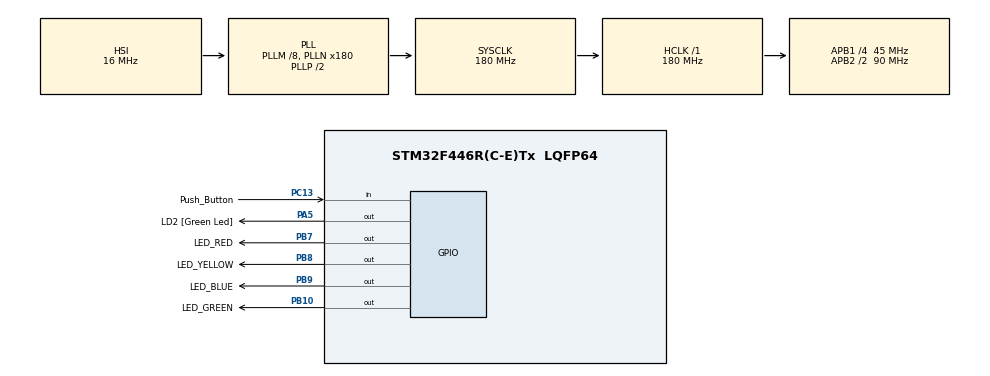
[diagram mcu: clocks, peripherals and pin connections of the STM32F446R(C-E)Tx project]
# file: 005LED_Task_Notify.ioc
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Mcu.Family=STM32F4
PH0-OSC_IN.Signal=RCC_OSC_IN
VP_SYS_VS_tim6.Mode=TIM6
RCC.CortexFreq_Value=180000000
PB9.GPIO_Label=LED_BLUE
NVIC.TIM6_DAC_IRQn=true\:0\:0\:false\:false\:true\:false\:true
PC13.Signal=GPIO_Input
PA14.GPIO_Label=TCK
PC13.GPIO_Label=Push_Button
RCC.APB1CLKDivider=RCC_HCLK_DIV4
PC14-OSC32_IN.Signal=RCC_OSC32_IN
RCC.SYSCLKSource=RCC_SYSCLKSOURCE_PLLCLK
ProjectManager.StackSize=0x400
PA13.Signal=SYS_JTMS-SWDIO
PB8.GPIO_Label=LED_YELLOW
ProjectManager.TargetToolchain=STM32CubeIDE
PB10.GPIO_Label=LED_GREEN
RCC.HCLKFreq_Value=180000000
RCC.APB2TimFreq_Value=180000000
RCC.USBFreq_Value=180000000
RCC.LSE_VALUE=32768
PC15-OSC32_OUT.Signal=RCC_OSC32_OUT
RCC.AHBFreq_Value=180000000
PB10.Signal=GPIO_Output
PA5.Signal=GPIO_Output
RCC.HSE_VALUE=8000000
board=NUCLEO-F446RE
RCC.VCOOutputFreq_Value=360000000
RCC.APB2Freq_Value=90000000
PH1-OSC_OUT.Signal=RCC_OSC_OUT
PB7.Signal=GPIO_Output
Mcu.Name=STM32F446R(C-E)Tx
PA2.Signal=USART2_TX
PA13.GPIO_Label=TMS
RCC.FLatency-AdvancedSettings=FLASH_LATENCY_5
PB7.GPIO_Label=LED_RED
PB3.Signal=SYS_JTDO-SWO
RCC.SYSCLKFreq_VALUE=180000000
Mcu.Package=LQFP64
PB9.Signal=GPIO_Output
NVIC.TimeBase=TIM6_DAC_IRQn
PA5.GPIO_Label=LD2 [Green Led]
PA2.GPIO_Label=USART_TX
NVIC.TimeBaseIP=TIM6
PA14.Signal=SYS_JTCK-SWCLK
ProjectManager.HeapSize=0x200
RCC.HSI_VALUE=16000000
NVIC.PriorityGroup=NVIC_PRIORITYGROUP_4
RCC.APB2CLKDivider=RCC_HCLK_DIV2
RCC.PLLM=8
RCC.PLLN=180
RCC.APB1TimFreq_Value=90000000
PB8.Signal=GPIO_Output
RCC.APB1Freq_Value=45000000
PA3.GPIO_Label=USART_RX
PA3.Signal=USART2_RX
PB3.GPIO_Label=SWO

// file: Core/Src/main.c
/* USER CODE BEGIN Header */
/**
  ******************************************************************************
  * @file           : main.c
  * @brief          : Main program body
  ******************************************************************************
  * @attention
  *
  * <h2><center>&copy; Copyright (c) 2021 STMicroelectronics.
  * All rights reserved.</center></h2>
  *
  * This software component is licensed by ST under BSD 3-Clause license,
  * the "License"; You may not use this file except in compliance with the
  * License. You may obtain a copy of the License at:
  *                        opensource.org/licenses/BSD-3-Clause
  *
  ******************************************************************************
  */
/* USER CODE END Header */
#include "main.h"

/* USER CODE BEGIN Includes */
#include "FreeRTOS.h"
#include "task.h"
/* USER CODE END Includes */

/* USER CODE BEGIN PV */
#define DWT_CTRL    (*(volatile uint32_t*)0xE0001000)
/* USER CODE END PV */

void SystemClock_Config(void);
static void MX_GPIO_Init(void);

/* USER CODE BEGIN PFP */
static void led_red_handler(void* parameters);
static void led_yellow_handler(void* parameters);
static void led_blue_handler(void* parameters);
static void led_green_handler(void* parameters);
static void button_handler(void* parameters);

extern void SEGGER_UART_init(uint32_t);

TaskHandle_t ledr_task_handle;
TaskHandle_t ledy_task_handle;
TaskHandle_t ledb_task_handle;
TaskHandle_t ledg_task_handle;
TaskHandle_t btn_task_handle;

TaskHandle_t volatile next_task_handle = NULL;
/* USER CODE END PFP */

int main(void)
{
	/* USER CODE BEGIN 1 */
	BaseType_t status;

	/* USER CODE END 1 */

	/* MCU Configuration--------------------------------------------------------*/

	/* Reset of all peripherals, Initializes the Flash interface and the Systick. */
	HAL_Init();

	/* Configure the system clock */
	SystemClock_Config();

	/* Initialize all configured peripherals */
	MX_GPIO_Init();

	/* USER CODE BEGIN 2 */
	SEGGER_UART_init(500000);

	//CYCLCNT enable
	DWT_CTRL |= ( 1 << 0);

	SEGGER_SYSVIEW_Conf();
	//SEGGER_SYSVIEW_Start(); //comment out if using UART based continuous recording

	//Create Task 1: Red LED
	status = xTaskCreate(led_red_handler, "LED_RED_TASK", 200, NULL, 2, &ledr_task_handle);
	configASSERT(status == pdPASS);

	next_task_handle = ledy_task_handle;

	//Create Task 2: Yellow LED
	status = xTaskCreate(led_yellow_handler, "LED_YELLOW_TASK", 200, NULL, 2, &ledy_task_handle);
	configASSERT(status == pdPASS);

	//Create Task 3: Blue LED
	status = xTaskCreate(led_blue_handler, "LED_BLUE_TASK", 200, NULL, 2, &ledb_task_handle);
	configASSERT(status == pdPASS);

	//Create Task 4: Green LED
	status = xTaskCreate(led_green_handler, "LED_GREEN_TASK", 200, NULL, 2, &ledg_task_handle);
	configASSERT(status == pdPASS);

	//Create Task 5: Button
	status = xTaskCreate(button_handler, "BUTTON_TASK", 200, NULL, 4, &btn_task_handle);
	configASSERT(status == pdPASS);

	//start the freeRTOS scheduler
	vTaskStartScheduler();

	/* USER CODE END 2 */

	/* Infinite loop */
	while (1)
	{

	}
}

void SystemClock_Config(void)
{
  RCC_OscInitTypeDef RCC_OscInitStruct = {0};
  RCC_ClkInitTypeDef RCC_ClkInitStruct = {0};

  /** Configure the main internal regulator output voltage
  */
  __HAL_RCC_PWR_CLK_ENABLE();
  __HAL_PWR_VOLTAGESCALING_CONFIG(PWR_REGULATOR_VOLTAGE_SCALE1);
  /** Initializes the RCC Oscillators according to the specified parameters
  * in the RCC_OscInitTypeDef structure.
  */
  RCC_OscInitStruct.OscillatorType = RCC_OSCILLATORTYPE_HSI;
  RCC_OscInitStruct.HSIState = RCC_HSI_ON;
  RCC_OscInitStruct.HSICalibrationValue = RCC_HSICALIBRATION_DEFAULT;
  RCC_OscInitStruct.PLL.PLLState = RCC_PLL_ON;
  RCC_OscInitStruct.PLL.PLLSource = RCC_PLLSOURCE_HSI;
  RCC_OscInitStruct.PLL.PLLM = 8;
  RCC_OscInitStruct.PLL.PLLN = 180;
  RCC_OscInitStruct.PLL.PLLP = RCC_PLLP_DIV2;
  RCC_OscInitStruct.PLL.PLLQ = 2;
  RCC_OscInitStruct.PLL.PLLR = 2;
  if (HAL_RCC_OscConfig(&RCC_OscInitStruct) != HAL_OK)
  {
    Error_Handler();
  }
  /** Activate the Over-Drive mode
  */
  if (HAL_PWREx_EnableOverDrive() != HAL_OK)
  {
    Error_Handler();
  }
  /** Initializes the CPU, AHB and APB buses clocks
  */
  RCC_ClkInitStruct.ClockType = RCC_CLOCKTYPE_HCLK|RCC_CLOCKTYPE_SYSCLK
                              |RCC_CLOCKTYPE_PCLK1|RCC_CLOCKTYPE_PCLK2;
  RCC_ClkInitStruct.SYSCLKSource = RCC_SYSCLKSOURCE_PLLCLK;
  RCC_ClkInitStruct.AHBCLKDivider = RCC_SYSCLK_DIV1;
  RCC_ClkInitStruct.APB1CLKDivider = RCC_HCLK_DIV4;
  RCC_ClkInitStruct.APB2CLKDivider = RCC_HCLK_DIV2;

  if (HAL_RCC_ClockConfig(&RCC_ClkInitStruct, FLASH_LATENCY_5) != HAL_OK)
  {
    Error_Handler();
  }
}

static void MX_GPIO_Init(void)
{
	GPIO_InitTypeDef GPIO_InitStruct = {0};

	/* GPIO Ports Clock Enable */
	__HAL_RCC_GPIOC_CLK_ENABLE();
	__HAL_RCC_GPIOH_CLK_ENABLE();
	__HAL_RCC_GPIOA_CLK_ENABLE();
	__HAL_RCC_GPIOB_CLK_ENABLE();

	/*Configure GPIO pin Output Level */
	HAL_GPIO_WritePin(LD2_GPIO_Port, LD2_Pin, GPIO_PIN_RESET);

	/*Configure GPIO pin Output Level */
	HAL_GPIO_WritePin(GPIOB, LED_GREEN_Pin|LED_RED_Pin|LED_YELLOW_Pin|LED_BLUE_Pin, GPIO_PIN_RESET);

	/*Configure GPIO pin : Push_Button_Pin */
	GPIO_InitStruct.Pin = Push_Button_Pin;
	GPIO_InitStruct.Mode = GPIO_MODE_INPUT;
	GPIO_InitStruct.Pull = GPIO_NOPULL;
	HAL_GPIO_Init(Push_Button_GPIO_Port, &GPIO_InitStruct);

	/*Configure GPIO pins : USART_TX_Pin USART_RX_Pin */
	GPIO_InitStruct.Pin = USART_TX_Pin|USART_RX_Pin;
	GPIO_InitStruct.Mode = GPIO_MODE_AF_PP;
	GPIO_InitStruct.Pull = GPIO_NOPULL;
	GPIO_InitStruct.Speed = GPIO_SPEED_FREQ_VERY_HIGH;
	GPIO_InitStruct.Alternate = GPIO_AF7_USART2;
	HAL_GPIO_Init(GPIOA, &GPIO_InitStruct);

	/*Configure GPIO pin : LD2_Pin */
	GPIO_InitStruct.Pin = LD2_Pin;
	GPIO_InitStruct.Mode = GPIO_MODE_OUTPUT_PP;
	GPIO_InitStruct.Pull = GPIO_NOPULL;
	GPIO_InitStruct.Speed = GPIO_SPEED_FREQ_LOW;
	HAL_GPIO_Init(LD2_GPIO_Port, &GPIO_InitStruct);

	/*Configure GPIO pins : LED_GREEN_Pin LED_RED_Pin LED_YELLOW_Pin LED_BLUE_Pin */
	GPIO_InitStruct.Pin = LED_GREEN_Pin|LED_RED_Pin|LED_YELLOW_Pin|LED_BLUE_Pin;
	GPIO_InitStruct.Mode = GPIO_MODE_OUTPUT_PP;
	GPIO_InitStruct.Pull = GPIO_NOPULL;
	GPIO_InitStruct.Speed = GPIO_SPEED_FREQ_LOW;
	HAL_GPIO_Init(GPIOB, &GPIO_InitStruct);

}

/* USER CODE BEGIN 4 */
static void led_red_handler(void* parameters) {

	BaseType_t status;

	while(1) {
		SEGGER_SYSVIEW_PrintfTarget("Toggling Red LED");
		HAL_GPIO_TogglePin(LED_RED_GPIO_Port, LED_RED_Pin);
		status = xTaskNotifyWait(0, 0, NULL, pdMS_TO_TICKS(1000));

		if(status == pdTRUE){
			vTaskSuspendAll();
			next_task_handle = ledy_task_handle;
			xTaskResumeAll();
			HAL_GPIO_WritePin(LED_RED_GPIO_Port, LED_RED_Pin, GPIO_PIN_SET);
			SEGGER_SYSVIEW_PrintfTarget("Delete Red LED task");
			vTaskDelete(NULL);
		}
	}
}

static void led_yellow_handler(void* parameters) {

	BaseType_t status;

	while(1) {
		SEGGER_SYSVIEW_PrintfTarget("Toggling Yellow LED");
		HAL_GPIO_TogglePin(LED_YELLOW_GPIO_Port, LED_YELLOW_Pin);
		status = xTaskNotifyWait(0, 0, NULL, pdMS_TO_TICKS(800));

		if(status == pdTRUE) {
			vTaskSuspendAll();
			next_task_handle = ledb_task_handle;
			xTaskResumeAll();
			HAL_GPIO_WritePin(LED_YELLOW_GPIO_Port, LED_YELLOW_Pin, GPIO_PIN_SET);
			SEGGER_SYSVIEW_PrintfTarget("Delete Yellow LED task");
			vTaskDelete(NULL);
		}
	}
}

static void led_blue_handler(void* parameters) {

	BaseType_t status;

	while(1) {
		SEGGER_SYSVIEW_PrintfTarget("Toggling Blue LED");
		HAL_GPIO_TogglePin(LED_BLUE_GPIO_Port, LED_BLUE_Pin);
		status = xTaskNotifyWait(0, 0, NULL, pdMS_TO_TICKS(600));

		if(status == pdTRUE) {
			vTaskSuspendAll();
			next_task_handle = ledg_task_handle;
			xTaskResumeAll();
			HAL_GPIO_WritePin(LED_BLUE_GPIO_Port, LED_BLUE_Pin, GPIO_PIN_SET);
			SEGGER_SYSVIEW_PrintfTarget("Delete Blue LED task");
			vTaskDelete(NULL);
		}
	}
}

static void led_green_handler(void* parameters) {
	BaseType_t status;

	while(1) {
		SEGGER_SYSVIEW_PrintfTarget("Toggling Green LED");
		HAL_GPIO_TogglePin(LED_GREEN_GPIO_Port, LED_GREEN_Pin);
		status = xTaskNotifyWait(0, 0, NULL, pdMS_TO_TICKS(400));

		if(status == pdTRUE){
			vTaskSuspendAll();
			next_task_handle = NULL;
			xTaskResumeAll();
			HAL_GPIO_WritePin(LED_GREEN_GPIO_Port, LED_GREEN_Pin, GPIO_PIN_SET);
			SEGGER_SYSVIEW_PrintfTarget("Delete Button task");
			vTaskDelete(btn_task_handle);
			SEGGER_SYSVIEW_PrintfTarget("Delete Green LED task");
			vTaskDelete(NULL);
		}
	}
}

static void button_handler(void* parameters) {

	uint8_t btn_read = 0;
	uint8_t prev_read = 0;

	while(1) {
		btn_read = HAL_GPIO_ReadPin(Push_Button_GPIO_Port, Push_Button_Pin);

		if(btn_read) {
			if(! prev_read)
				xTaskNotify(next_task_handle, 0, eNoAction);
		}
		prev_read = btn_read;
		vTaskDelay(pdMS_TO_TICKS(10));
	}
}

/* USER CODE END 4 */

 /**
  * @brief  Period elapsed callback in non blocking mode
  * @note   This function is called  when TIM6 interrupt took place, inside
  * HAL_TIM_IRQHandler(). It makes a direct call to HAL_IncTick() to increment
  * a global variable "uwTick" used as application time base.
  * @param  htim : TIM handle
  * @retval None
  */
void HAL_TIM_PeriodElapsedCallback(TIM_HandleTypeDef *htim)
{
  if (htim->Instance == TIM6) {
    HAL_IncTick();
  }
}

void Error_Handler(void)
{
  __disable_irq();
  while (1)
  {
  }
}

/************************ (C) COPYRIGHT STMicroelectronics *****END OF FILE****/
